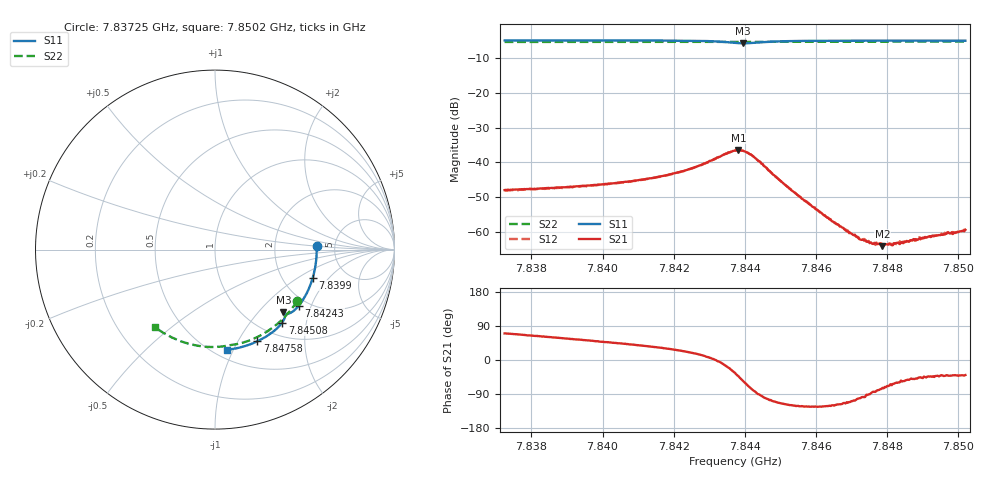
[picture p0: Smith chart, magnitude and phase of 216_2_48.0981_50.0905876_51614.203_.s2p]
#  HZ  S  RI  R  50.00
! Rohde & Schwarz Vector Network Analyzer
! Rohde-Schwarz,ZNB20-2Port,1311601062101988,3.16
! Created: UTC 12/23/2023, 3:56:16 AM
! freq[Hz]  re:S11  im:S11  re:S21  im:S21  re:S12  im:S12  re:S22  im:S22
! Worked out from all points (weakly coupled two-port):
!   401 points, 7.83725 GHz to 7.8502 GHz, reference 50 ohm
!   highest |S21| = -36.50 dB at 7.84382 GHz (marker M1); lowest = -64.2 dB at 7.84787 GHz (marker M2)
!   lowest |S11| = -5.8 dB at 7.84395 GHz (marker M3), VSWR 3.13, Z = 72.7 - j69 ohm
!   |S11| at or under -10 dB: nowhere
!   |S22| runs from -5.4 to -5.3 dB; largest |S21 - S12| = 0.00037
!   S11 on the Smith chart (normalised r, x): 7.83725 GHz: 3.60, +0.21; 7.8399 GHz: 2.93, -1.35; 7.84243 GHz: 1.79, -1.64; 7.84508 GHz: 1.25, -1.46; 7.84758 GHz: 0.81, -1.21; 7.8502 GHz: 0.58, -0.95
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7.837249e9  0.5659 0.0195  0.00135 0.00373  0.00136 0.00372  0.4584 -0.2849
7.839418e9  0.5532 -0.1242  0.00272 0.00366  0.00273 0.0036  0.3616 -0.4017
7.839904e9  0.5451 -0.1559  0.00317 0.00359  0.00305 0.00359  0.3357 -0.4238
7.840778e9  0.5255 -0.2118  0.004 0.00347  0.0039 0.00351  0.2859 -0.4593
7.841587e9  0.501 -0.2622  0.0052 0.00336  0.00512 0.00335  0.2362 -0.4869
7.842428e9  0.467 -0.3127  0.00742 0.00279  0.00736 0.00282  0.1815 -0.5099
7.843238e9  0.4183 -0.3533  0.0117 -0.000697  0.0117 -0.000544  0.127 -0.5254
7.843723e9  0.3844 -0.3547  0.0122 -0.00822  0.012 -0.00835  0.0942 -0.5306
7.84382e9  0.3813 -0.3514  0.011 -0.0102  0.011 -0.0101  0.088 -0.5318
7.84395e9  0.3808 -0.3479  0.00831 -0.012  0.00845 -0.0119  0.08 -0.5331
7.844241e9  0.388 -0.3517  0.00197 -0.012  0.00195 -0.0119  0.0614 -0.5366
7.845083e9  0.3743 -0.4065  -0.00214 -0.00444  -0.00214 -0.0045  0.0027 -0.5427
7.845892e9  0.3342 -0.4491  -0.00126 -0.00193  -0.00129 -0.00196  -0.0543 -0.541
7.846734e9  0.2868 -0.4834  -0.000503 -0.00103  -0.000487 -0.00103  -0.1131 -0.5324
7.847219e9  0.2582 -0.5  -0.000149 -0.000764  -0.000137 -0.00078  -0.1462 -0.5244
7.847575e9  0.2366 -0.5108  5.55e-05 -0.000668  5.65e-05 -0.000693  -0.1702 -0.5174
7.847866e9  0.2186 -0.5188  0.000175 -0.000592  0.000174 -0.000637  -0.1895 -0.5109
7.848061e9  0.2066 -0.5235  0.000252 -0.00061  0.000257 -0.000625  -0.2022 -0.5061
7.848773e9  0.1615 -0.5392  0.000484 -0.00058  0.000475 -0.000571  -0.2479 -0.4858
7.849679e9  0.1029 -0.5533  0.000724 -0.000604  0.00073 -0.000643  -0.3031 -0.4541
7.849873e9  0.0901 -0.5554  0.000731 -0.000621  0.000735 -0.00065  -0.3142 -0.4465
7.850197e9  0.0688 -0.5581  0.000817 -0.000678  0.000796 -0.000707  -0.3325 -0.4333
